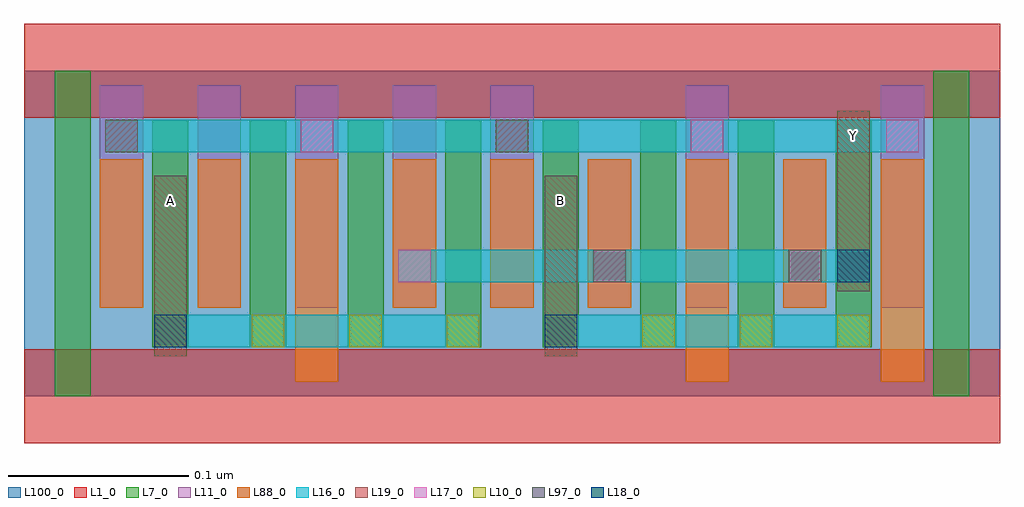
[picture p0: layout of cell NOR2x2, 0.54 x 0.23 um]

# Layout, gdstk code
import gdstk
lib = gdstk.Library(unit=1e-6, precision=2.5e-10)
def R(c, l, rs):  # rectangles x0, y0, x1, y1
    for r in rs: c.add(gdstk.rectangle(r[:2], r[2:], *l))
def A(c, l, x, y, w, h, nx, ny, dx, dy):  # array of equal rectangles
    R(c, l, [(x+i*dx, y+j*dy, x+i*dx+w, y+j*dy+h) for i in range(nx) for j in range(ny)])
L1_0 = (1, 0)
L7_0 = (7, 0)
L10_0 = (10, 0)
L11_0 = (11, 0)
L16_0 = (16, 0)
L17_0 = (17, 0)
L18_0 = (18, 0)
L19_0 = (19, 0)
L88_0 = (88, 0)
L97_0 = (97, 0)
L100_0 = (100, 0)

nor2x2 = lib.new_cell('NOR2x2')
R(nor2x2, L1_0, [(0,-0.026,0.54,0.026), (0,0.154,0.54,0.206)])
A(nor2x2, L7_0, 0.071, 0.027, 0.02, 0.126, 8, 1, 0.054, 0)
R(nor2x2, L7_0, [(0.017,0,0.037,0.18), (0.503,0,0.523,0.18)])
A(nor2x2, L10_0, 0.072, 0.027, 0.018, 0.018, 8, 1, 0.054, 0)
A(nor2x2, L11_0, 0.042, 0.049, 0.024, 0.123, 5, 1, 0.054, 0)
R(nor2x2, L11_0, [(0.312,0.049,0.336,0.131), (0.366,0.049,0.39,0.172), (0.42,0.049,0.444,0.131), (0.474,0.049,0.498,0.172)])
R(nor2x2, L16_0, [(0.072,0.027,0.252,0.045), (0.288,0.027,0.468,0.045), (0.207,0.063,0.468,0.081), (0.045,0.135,0.495,0.153)])
A(nor2x2, L17_0, 0.207, 0.063, 0.018, 0.018, 3, 1, 0.108, 0)
A(nor2x2, L17_0, 0.045, 0.135, 0.018, 0.018, 5, 1, 0.108, 0)
R(nor2x2, L18_0, [(0.072,0.027,0.09,0.045), (0.288,0.027,0.306,0.045), (0.45,0.063,0.468,0.081)])
R(nor2x2, L19_0, [(0.072,0.022,0.09,0.122), (0.288,0.022,0.306,0.122), (0.45,0.058,0.468,0.158)])
A(nor2x2, L88_0, 0.204, 0.049, 0.024, 0.082, 3, 1, 0.054, 0)
R(nor2x2, L88_0, [(0.15,0.008,0.174,0.131), (0.366,0.008,0.39,0.131), (0.474,0.008,0.498,0.131), (0.042,0.049,0.066,0.131), (0.096,0.049,0.12,0.131), (0.42,0.049,0.444,0.131)])
R(nor2x2, L97_0, [(0.315,0.063,0.333,0.081), (0.423,0.063,0.441,0.081), (0.045,0.135,0.063,0.153), (0.261,0.135,0.279,0.153)])
R(nor2x2, L100_0, [(0,0,0.54,0.18)])
nor2x2.add(gdstk.Label('A', (0.081,0.108), layer=19, texttype=251))
nor2x2.add(gdstk.Label('B', (0.297,0.108), layer=19, texttype=251))
nor2x2.add(gdstk.Label('Y', (0.459,0.144), layer=19, texttype=251))

lib.write_gds('NOR2x2.gds')
